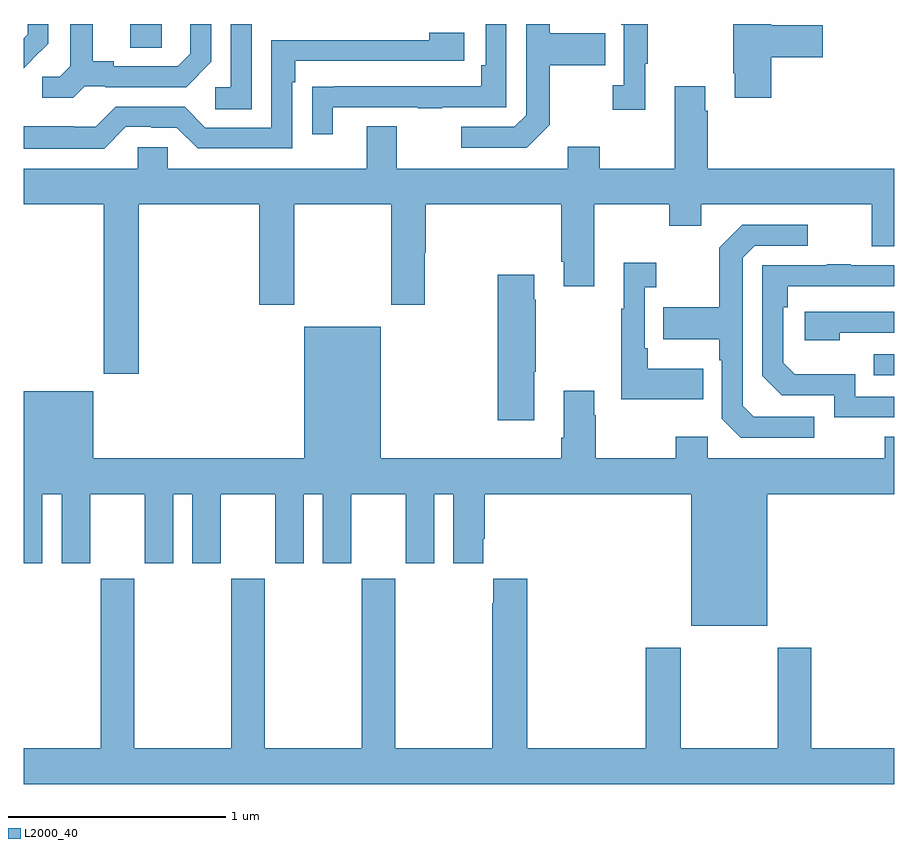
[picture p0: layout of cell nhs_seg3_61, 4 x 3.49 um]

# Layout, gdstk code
import gdstk
lib = gdstk.Library(unit=1e-6, precision=1e-09)
def R(c, l, rs):  # rectangles x0, y0, x1, y1
    for r in rs: c.add(gdstk.rectangle(r[:2], r[2:], *l))
def P(c, l, *ps):  # polygons
    for p in ps: c.add(gdstk.Polygon(p, *l))
L2000_40 = (2000, 40)

nhs_seg3_61 = lib.new_cell('nhs_seg3_61')
R(nhs_seg3_61, L2000_40, [(116.905,710.787,117,710.883), (113.489,712.291,113.634,712.4)])
P(nhs_seg3_61, L2000_40, [(114.048,712.4),(113.952,712.4),(113.952,712.11),(113.88,712.11),(113.88,712.009),(114.048,712.009)],
  [(115.855,712.217),(115.867,712.217),(115.867,712.4),(115.746,712.4),(115.746,712.397),(115.758,712.397),(115.758,712.118),(115.707,712.118),(115.707,712.005),(115.855,712.005)],
  [(116.435,712.247),(116.671,712.247),(116.671,712.394),(116.435,712.394),(116.435,712.4),(116.26,712.4),(116.26,712.174),(116.267,712.174),(116.267,712.062),(116.435,712.062)],
  [(113.04,712.236),(113.039,712.237),(113.112,712.31),(113.112,712.4),(113.018,712.4),(113.018,712.352),(113,712.334),(113,712.196)],
  [(114.421,712.017),(114.811,712.017),(114.811,712.012),(114.923,712.012),(114.923,712.017),(115.218,712.017),(115.218,712.4),(115.122,712.4),(115.122,712.21),(115.102,712.21),(115.102,712.113),(114.427,712.113),(114.427,712.112),(114.325,712.112),(114.325,711.894),(114.421,711.894)],
  [(113.28,712.113),(113.374,712.113),(113.374,712.11),(113.746,712.11),(113.862,712.226),(113.862,712.4),(113.765,712.4),(113.765,712.263),(113.708,712.206),(113.413,712.206),(113.413,712.229),(113.317,712.229),(113.317,712.4),(113.213,712.4),(113.213,712.205),(113.166,712.158),(113.085,712.158),(113.085,712.061),(113.228,712.061)],
  [(115.417,711.937),(115.417,712.21),(115.673,712.21),(115.673,712.357),(115.417,712.357),(115.417,712.4),(115.308,712.4),(115.308,711.981),(115.254,711.927),(115.011,711.927),(115.011,711.831),(115.311,711.831)],
  [(113.469,711.927),(113.585,711.927),(113.585,711.924),(113.703,711.924),(113.799,711.828),(114.234,711.828),(114.234,712.133),(114.247,712.133),(114.247,712.23),(115.024,712.23),(115.024,712.36),(114.863,712.36),(114.863,712.326),(114.138,712.326),(114.138,711.924),(113.835,711.924),(113.739,712.02),(113.424,712.02),(113.331,711.927),(113.231,711.927),(113.231,711.931),(113,711.931),(113,711.827),(113.369,711.827)],
  [(113.528,711.572),(114.083,711.572),(114.083,711.111),(114.243,711.111),(114.243,711.572),(114.688,711.572),(114.688,711.111),(114.843,711.111),(114.843,711.35),(114.848,711.35),(114.848,711.572),(115.469,711.572),(115.469,711.307),(115.481,711.307),(115.481,711.195),(115.621,711.195),(115.621,711.572),(115.966,711.572),(115.966,711.473),(116.113,711.473),(116.113,711.572),(116.897,711.572),(116.897,711.378),(117,711.378),(117,711.736),(116.144,711.736),(116.144,712.001),(116.131,712.001),(116.131,712.114),(115.991,712.114),(115.991,711.736),(115.647,711.736),(115.647,711.835),(115.499,711.835),(115.499,711.736),(114.715,711.736),(114.715,711.931),(114.575,711.931),(114.575,711.736),(113.661,711.736),(113.661,711.834),(113.523,711.834),(113.523,711.736),(113,711.736),(113,711.572),(113.368,711.572),(113.368,710.793),(113.528,710.793)],
  [(116.632,710.595),(116.355,710.595),(116.304,710.646),(116.304,711.327),(116.358,711.381),(116.602,711.381),(116.602,711.477),(116.301,711.477),(116.196,711.371),(116.196,711.099),(115.939,711.099),(115.939,710.951),(116.196,710.951),(116.196,710.855),(116.208,710.855),(116.208,710.586),(116.295,710.499),(116.632,710.499)],
  [(116.123,710.815),(115.867,710.815),(115.867,710.911),(115.854,710.911),(115.854,711.191),(115.906,711.191),(115.906,711.304),(115.757,711.304),(115.757,711.091),(115.746,711.091),(115.746,710.675),(116.123,710.675)],
  [(117,710.688),(116.82,710.688),(116.82,710.791),(116.543,710.791),(116.49,710.844),(116.49,711.098),(116.51,711.098),(116.51,711.195),(117,711.195),(117,711.291),(116.801,711.291),(116.801,711.296),(116.689,711.296),(116.689,711.291),(116.394,711.291),(116.394,710.784),(116.484,710.694),(116.724,710.694),(116.724,710.592),(117,710.592)],
  [(115.345,710.803),(115.353,710.803),(115.353,711.134),(115.345,711.134),(115.345,711.247),(115.178,711.247),(115.178,710.58),(115.345,710.58)],
  [(116.75,710.982),(117,710.982),(117,711.078),(116.589,711.078),(116.589,710.948),(116.75,710.948)],
  [(116.416,710.24),(117,710.24),(117,710.503),(116.956,710.503),(116.956,710.404),(116.142,710.404),(116.142,710.503),(115.996,710.503),(115.996,710.404),(115.629,710.404),(115.629,710.603),(115.621,710.603),(115.621,710.716),(115.481,710.716),(115.481,710.5),(115.469,710.5),(115.469,710.404),(114.64,710.404),(114.64,711.01),(114.29,711.01),(114.29,710.404),(113.32,710.404),(113.32,710.713),(113,710.713),(113,709.923),(113.086,709.923),(113.086,710.24),(113.174,710.24),(113.174,709.923),(113.305,709.923),(113.305,710.24),(113.555,710.24),(113.555,709.923),(113.686,709.923),(113.686,710.24),(113.774,710.24),(113.774,709.923),(113.905,709.923),(113.905,710.24),(114.155,710.24),(114.155,709.923),(114.286,709.923),(114.286,710.24),(114.374,710.24),(114.374,709.923),(114.505,709.923),(114.505,710.24),(114.755,710.24),(114.755,709.923),(114.886,709.923),(114.886,710.24),(114.974,710.24),(114.974,709.923),(115.111,709.923),(115.111,710.035),(115.118,710.035),(115.118,710.24),(116.066,710.24),(116.066,709.634),(116.416,709.634)],
  [(117,709.072),(116.619,709.072),(116.619,709.534),(116.464,709.534),(116.464,709.072),(116.019,709.072),(116.019,709.534),(115.859,709.534),(115.859,709.072),(115.313,709.072),(115.313,709.852),(115.157,709.852),(115.157,709.739),(115.153,709.739),(115.153,709.072),(114.708,709.072),(114.708,709.852),(114.553,709.852),(114.553,709.072),(114.108,709.072),(114.108,709.852),(113.953,709.852),(113.953,709.072),(113.508,709.072),(113.508,709.852),(113.353,709.852),(113.353,709.072),(113,709.072),(113,708.908),(117,708.908)])

lib.write_gds('nhs_seg3_61.gds')
